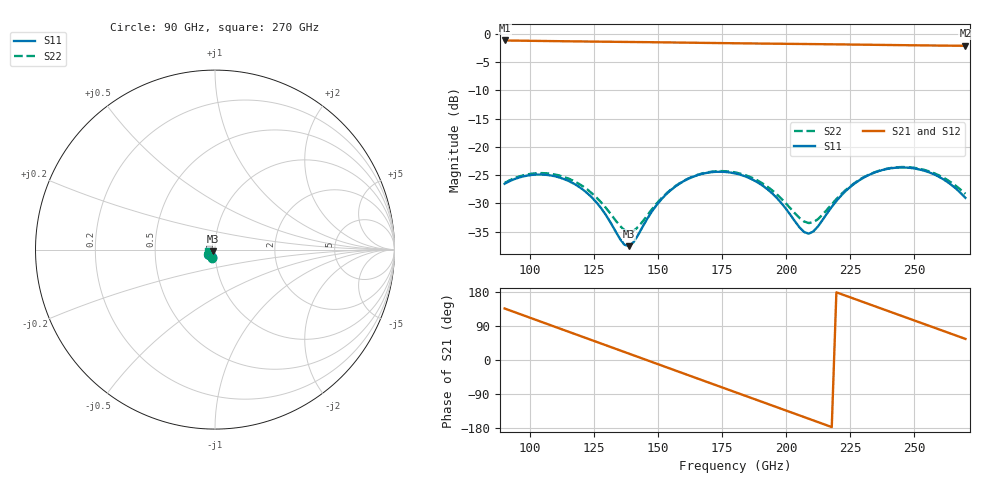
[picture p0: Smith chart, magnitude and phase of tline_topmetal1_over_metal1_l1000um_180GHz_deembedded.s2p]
! Created with skrf 2.2.0 (http://scikit-rf.org).
# GHz S DB R 50.0
! Port[1] = P1
! Port[2] = P2
!freq dBS11 angS11 dBS21 angS21 dBS12 angS12 dBS22 angS22
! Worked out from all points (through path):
!   101 points, 90 GHz to 270 GHz, reference 50 ohm
!   highest |S21| = -1.18 dB at 90 GHz (marker M1); lowest = -2.1 dB at 270 GHz (marker M2)
!   group delay of S21, straight-line fit = 6.79 ps
!   lowest |S11| = -37.6 dB at 138.6 GHz (marker M3), VSWR 1.03, Z = 49 - j0.887 ohm
!   |S11| at or under -10 dB: start of sweep to end of sweep
!   |S22| runs from -35.1 to -23.6 dB; largest |S21 - S12| = 9.3e-14
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90  -26.53 -111.8  -1.18 135.9  -1.18 135.9  -26.39 -110.7
99  -25.07 -130.3  -1.24 113.8  -1.24 113.8  -24.86 -128.4
106.2  -24.95 -145.5  -1.28 96.1  -1.28 96.1  -24.68 -142.9
113.4  -25.73 -159.9  -1.32 78.5  -1.32 78.5  -25.35 -156.6
120.6  -27.57 -172.5  -1.36 60.9  -1.36 60.9  -26.99 -168.1
129.6  -32.08 -179.4  -1.41 38.8  -1.41 38.8  -30.82 -173.4
135  -36.24 -164.8  -1.43 25.6  -1.43 25.6  -33.94 -161.9
138.6  -37.57 -136.9  -1.45 16.7  -1.45 16.7  -35.08 -142.8
142.2  -35.54 -112.0  -1.47 7.9  -1.47 7.9  -34.15 -122.9
151.2  -29.29 -102.7  -1.52 -14.2  -1.52 -14.2  -29.13 -108.7
158.4  -26.49 -112.0  -1.56 -31.8  -1.56 -31.8  -26.43 -115.4
167.4  -24.75 -127.9  -1.61 -53.9  -1.61 -53.9  -24.68 -129.3
180  -24.69 -151.4  -1.68 -84.6  -1.68 -84.6  -24.52 -150.9
194.4  -28.18 -172.4  -1.75 -119.8  -1.75 -119.8  -27.65 -169.6
207  -35.08 -150.0  -1.81 -150.6  -1.81 -150.6  -33.20 -150.9
210.6  -34.98 -126.2  -1.83 -159.4  -1.83 -159.4  -33.33 -133.1
217.8  -30.62 -103.9  -1.86 -177.0  -1.86 -177.0  -30.15 -111.7
225  -27.10 -106.5  -1.90 165.4  -1.90 165.4  -26.97 -111.7
232.2  -24.99 -116.2  -1.94 147.8  -1.94 147.8  -24.94 -119.7
241.2  -23.77 -131.3  -1.99 125.9  -1.99 125.9  -23.72 -133.3
255.6  -24.47 -155.8  -2.07 90.8  -2.07 90.8  -24.30 -155.8
270  -29.02 -169.6  -2.13 55.7  -2.13 55.7  -28.30 -167.2
